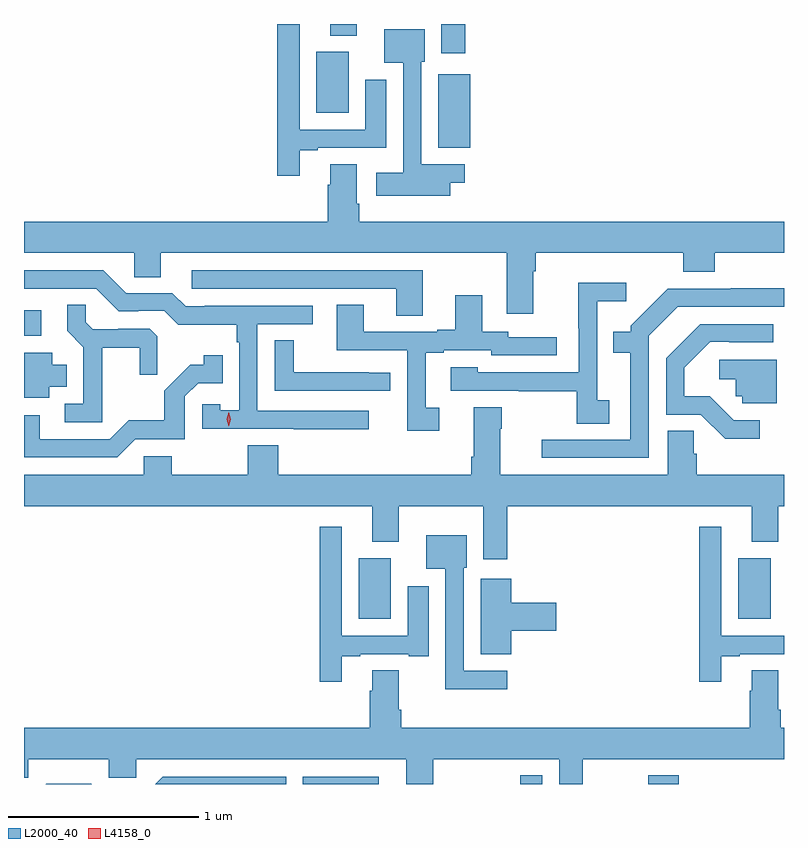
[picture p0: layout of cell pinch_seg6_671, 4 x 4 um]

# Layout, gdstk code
import gdstk
lib = gdstk.Library(unit=1e-6, precision=1e-09)
def R(c, l, rs):  # rectangles x0, y0, x1, y1
    for r in rs: c.add(gdstk.rectangle(r[:2], r[2:], *l))
def P(c, l, *ps):  # polygons
    for p in ps: c.add(gdstk.Polygon(p, *l))
L2000_40 = (2000, 40)
L4158_0 = (4158, 0)

pinch_seg6_671 = lib.new_cell('pinch_seg6_671')
R(pinch_seg6_671, L2000_40, [(491.182,943.209,491.584,943.248), (492.328,943.209,492.444,943.255), (493.001,943.209,493.162,943.255), (491.477,944.078,491.647,944.398), (493.475,944.078,493.645,944.398), (489.716,945.567,489.808,945.703), (491.897,946.559,492.064,946.945), (491.255,946.742,491.425,947.062), (491.912,947.055,492.038,947.209), (491.327,947.147,491.467,947.209)])
P(pinch_seg6_671, L2000_40, [(491.167,946.545),(491.263,946.545),(491.263,946.557),(491.623,946.557),(491.623,946.915),(491.513,946.915),(491.513,946.653),(491.166,946.653),(491.166,947.209),(491.05,947.209),(491.05,946.41),(491.167,946.41)],
  [(491.959,946.373),(492.037,946.373),(492.037,946.47),(491.808,946.47),(491.808,947.01),(491.824,947.01),(491.824,947.182),(491.612,947.182),(491.612,947.006),(491.712,947.006),(491.712,946.426),(491.571,946.426),(491.571,946.304),(491.959,946.304)],
  [(492.397,945.908),(492.41,945.908),(492.41,946.004),(493.187,946.004),(493.187,945.905),(493.352,945.905),(493.352,946.004),(493.716,946.004),(493.716,946.168),(491.48,946.168),(491.48,946.264),(491.467,946.264),(491.467,946.472),(491.327,946.472),(491.327,946.364),(491.315,946.364),(491.315,946.168),(489.716,946.168),(489.716,946.004),(490.296,946.004),(490.296,945.877),(490.435,945.877),(490.435,946.004),(492.257,946.004),(492.257,945.684),(492.397,945.684)],
  [(491.53,945.174),(490.944,945.174),(490.944,945.63),(491.236,945.63),(491.236,945.726),(490.666,945.726),(490.666,945.723),(490.566,945.723),(490.497,945.792),(490.254,945.792),(490.134,945.912),(489.716,945.912),(489.716,945.816),(490.095,945.816),(490.215,945.696),(490.316,945.696),(490.316,945.699),(490.455,945.699),(490.528,945.626),(490.836,945.626),(490.836,945.533),(490.848,945.533),(490.848,945.175),(490.749,945.175),(490.749,945.207),(490.653,945.207),(490.653,945.078),(491.137,945.078),(491.137,945.076),(491.53,945.076)],
  [(491.815,945.912),(490.599,945.912),(490.599,945.816),(491.675,945.816),(491.675,945.673),(491.815,945.673)],
  [(492.796,945.228),(492.732,945.228),(492.732,945.749),(492.886,945.749),(492.886,945.847),(492.634,945.847),(492.634,945.608),(492.636,945.608),(492.636,945.375),(492.105,945.375),(492.105,945.403),(491.961,945.403),(491.961,945.279),(492.319,945.279),(492.319,945.277),(492.624,945.277),(492.624,945.106),(492.796,945.106)],
  [(493.005,945.567),(493.158,945.72),(493.716,945.72),(493.716,945.818),(493.435,945.818),(493.435,945.816),(493.104,945.816),(492.909,945.621),(492.909,945.589),(492.817,945.589),(492.817,945.48),(492.908,945.48),(492.908,945.021),(492.441,945.021),(492.441,944.925),(493.005,944.925)],
  [(491.902,945.189),(491.83,945.189),(491.83,945.48),(491.926,945.48),(491.926,945.492),(492.174,945.492),(492.174,945.465),(492.52,945.465),(492.52,945.561),(492.264,945.561),(492.264,945.588),(492.127,945.588),(492.127,945.781),(491.987,945.781),(491.987,945.601),(491.891,945.601),(491.891,945.588),(491.503,945.588),(491.503,945.731),(491.363,945.731),(491.363,945.492),(491.733,945.492),(491.733,945.069),(491.902,945.069)],
  [(490.127,945.506),(490.324,945.506),(490.324,945.363),(490.418,945.363),(490.418,945.565),(490.377,945.606),(490.212,945.606),(490.212,945.603),(490.078,945.603),(490.041,945.64),(490.041,945.731),(489.943,945.731),(489.943,945.595),(490.029,945.509),(490.029,945.21),(489.93,945.21),(489.93,945.114),(490.127,945.114)],
  [(493.588,945.123),(493.452,945.123),(493.325,945.25),(493.192,945.25),(493.192,945.4),(493.329,945.537),(493.429,945.537),(493.429,945.534),(493.66,945.534),(493.66,945.63),(493.274,945.63),(493.095,945.451),(493.095,945.153),(493.278,945.153),(493.406,945.026),(493.588,945.026)],
  [(491.644,945.374),(491.531,945.374),(491.531,945.375),(491.136,945.375),(491.136,945.545),(491.037,945.545),(491.037,945.279),(491.644,945.279)],
  [(489.85,945.299),(489.94,945.299),(489.94,945.415),(489.865,945.415),(489.865,945.478),(489.716,945.478),(489.716,945.242),(489.85,945.242)],
  [(490.302,945.024),(490.563,945.024),(490.563,945.249),(490.632,945.318),(490.763,945.318),(490.763,945.466),(490.662,945.466),(490.662,945.416),(490.592,945.416),(490.455,945.278),(490.455,945.123),(490.266,945.123),(490.167,945.024),(489.799,945.024),(489.799,945.15),(489.716,945.15),(489.716,944.928),(490.206,944.928)],
  [(493.678,945.441),(493.374,945.441),(493.374,945.338),(493.461,945.338),(493.461,945.249),(493.497,945.249),(493.497,945.213),(493.678,945.213)],
  [(492.26,944.672),(493.547,944.672),(493.547,944.483),(493.687,944.483),(493.687,944.672),(493.716,944.672),(493.716,944.836),(493.256,944.836),(493.256,944.946),(493.241,944.946),(493.241,945.068),(493.103,945.068),(493.103,944.836),(492.223,944.836),(492.223,945.08),(492.231,945.08),(492.231,945.193),(492.083,945.193),(492.083,944.932),(492.071,944.932),(492.071,944.836),(491.054,944.836),(491.054,944.993),(490.894,944.993),(490.894,944.836),(490.494,944.836),(490.494,944.934),(490.347,944.934),(490.347,944.836),(489.716,944.836),(489.716,944.672),(491.549,944.672),(491.549,944.483),(491.689,944.483),(491.689,944.672),(492.134,944.672),(492.134,944.391),(492.26,944.391)],
  [(493.387,943.881),(493.483,943.881),(493.483,943.893),(493.716,943.893),(493.716,943.989),(493.386,943.989),(493.386,944.563),(493.27,944.563),(493.27,943.746),(493.387,943.746)],
  [(491.389,943.881),(491.485,943.881),(491.485,943.893),(491.741,943.893),(491.741,943.881),(491.845,943.881),(491.845,944.251),(491.735,944.251),(491.735,943.989),(491.388,943.989),(491.388,944.563),(491.272,944.563),(491.272,943.746),(491.389,943.746)],
  [(492.259,943.806),(492.03,943.806),(492.03,944.346),(492.046,944.346),(492.046,944.518),(491.834,944.518),(491.834,944.342),(491.934,944.342),(491.934,943.709),(492.259,943.709)],
  [(492.281,944.015),(492.517,944.015),(492.517,944.162),(492.281,944.162),(492.281,944.29),(492.119,944.29),(492.119,943.891),(492.281,943.891)],
  [(491.869,943.34),(492.533,943.34),(492.533,943.209),(492.657,943.209),(492.657,943.34),(493.716,943.34),(493.716,943.504),(493.7,943.504),(493.7,943.6),(493.687,943.6),(493.687,943.808),(493.547,943.808),(493.547,943.7),(493.535,943.7),(493.535,943.504),(491.702,943.504),(491.702,943.6),(491.689,943.6),(491.689,943.808),(491.549,943.808),(491.549,943.7),(491.537,943.7),(491.537,943.504),(489.716,943.504),(489.716,943.242),(489.738,943.242),(489.738,943.34),(490.163,943.34),(490.163,943.242),(490.308,943.242),(490.308,943.34),(491.729,943.34),(491.729,943.209),(491.869,943.209)],
  [(491.097,943.248),(490.446,943.248),(490.407,943.209),(491.097,943.209)],
  [(490.07,943.211),(489.833,943.211),(489.831,943.209),(490.072,943.209)])
P(pinch_seg6_671, L4158_0, [(490.794,945.093),(490.794,945.093),(490.784,945.129),(490.794,945.165),(490.794,945.165),(490.794,945.165),(490.804,945.129),(490.794,945.093)])

lib.write_gds('pinch_seg6_671.gds')
